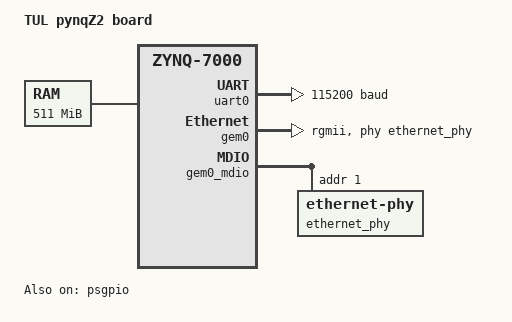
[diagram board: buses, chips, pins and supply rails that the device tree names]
/*
 * Copyright (c) 2026 nalexopo
 *
 * SPDX-License-Identifier: Apache-2.0
 */

/dts-v1/;
#include <xilinx/zynq7000.dtsi>
#include <zephyr/dt-bindings/gpio/gpio.h>
#include <zephyr/dt-bindings/input/input-event-codes.h>


#include "pynqz2-pinctrl.dtsi"

/ {
	model = "TUL pynqZ2 board";
	compatible = "tul,pynqz2", "xlnx,zynq-7000";

	chosen {
		zephyr,sram = &sram0;
		zephyr,console = &uart0;
		zephyr,shell-uart = &uart0;
		zephyr,ocm = &ocm_high;
	};

	aliases {

	};

	cpus {
		#address-cells = <1>;
		#size-cells = <0>;

		cpu0: cpu@0 {
			device_type = "cpu";
			compatible = "arm,cortex-a9";
			reg = <0>;
		};

		cpu1: cpu@1 {
			device_type = "cpu";
			compatible = "arm,cortex-a9";
			reg = <1>;
		};
	};

	sram0: memory@0 {
		compatible = "mmio-sram";
		/* 512 MiB DDR at 0x0; the first 1 MiB is not usable from the CPU */
		reg = <0x00100000 DT_SIZE_M(511)>;
	};

};

&uart0 {
	status = "okay";
	current-speed = <115200>;
	clock-frequency = <100000000>;
	pinctrl-0 = <&pinctrl_uart0_default>;
	pinctrl-names = "default";
};

/*
 * GEM0 is wired to a Realtek RTL8211E-VL over RGMII on MIO 16..27, with
 * MDIO on MIO 52/53. The MIO muxing and the GEM0 RX clock are set up by the
 * FSBL (ps7_init); RGMII delays are provided by the PHY's strap pins.
 */
&gem0 {
	status = "okay";
	phy-handle = <&ethernet_phy>;
	phy-connection-type = "rgmii";

	/*
	 * NOT the TX clock: this is the frequency of the PLL that feeds
	 * GEM0_CLK_CTRL (IO PLL, SRCSEL=0). The driver derives DIVISOR0/1 from
	 * it to produce 125/25/2.5 MHz for 1000/100/10 Mbit/s. The PYNQ-Z2
	 * ps7_init sets the IO PLL to 50 MHz * 20 = 1 GHz.
	 */
	clock-frequency = <1000000000>;
	local-mac-address = [00 e0 4c 68 01 01];
};

&gem0_mdio {
	status = "okay";

	ethernet_phy: ethernet-phy@1 {
		compatible = "ethernet-phy";
		reg = <1>;
		status = "okay";
	};
};

&psgpio {
	status = "okay";
};
